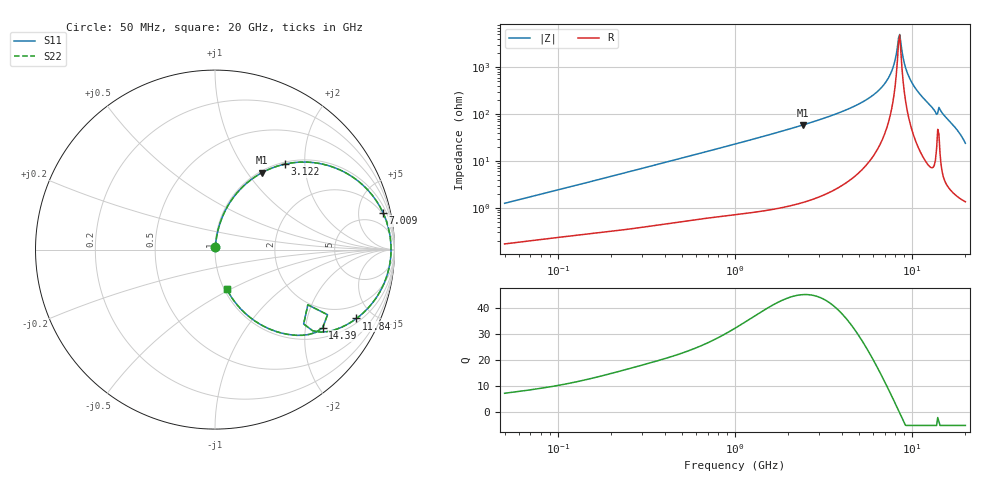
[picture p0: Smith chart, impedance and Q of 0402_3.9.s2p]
!Murata Part Number: LQG15HS3N6B02
!These Parameters are Measured in Series Mode Connection
!  o--[Z]--o
!Port1  Port2
!  o-------o
!Freq. Start=50[MHz] Stop=20[GHz], 401[Steps]
# Hz S RI R 50
!Freq.(Hz) S11(Real) S11(Imag) S21(Real) S21(Imag) S12(Real) S12(Imag) S22(Real) S22(Imag)
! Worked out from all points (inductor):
!   401 points, 50 MHz to 20 GHz, reference 50 ohm
!   read as one part in series: L = 3.91 nH near 51.52 MHz
!   highest Q = 44.9 at 2.42 GHz (marker M1), where L = 3.86 nH
!   self-resonance near 8.389 GHz
!   S11 on the Smith chart (normalised r, x): 50 MHz: 1.00, +0.02; 3.122 GHz: 1.04, +1.60; 7.009 GHz: 1.77, +8.92; 11.84 GHz: 1.20, -4.00; 14.39 GHz: 1.29, -2.49; 20 GHz: 1.03, -0.48
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5e7  0.00186 0.0124  0.9981 -0.0124  0.9981 -0.0124  0.00186 0.0124
1.364002e8  0.00372 0.0323  0.9963 -0.0323  0.9963 -0.0323  0.00372 0.0323
3.721004e8  0.0116 0.0849  0.9884 -0.0849  0.9884 -0.0849  0.0116 0.0849
1e9  0.0562 0.2152  0.9438 -0.2152  0.9438 -0.2152  0.0562 0.2152
2.419936e9  0.261 0.4282  0.739 -0.4282  0.739 -0.4282  0.261 0.4282
2.728004e9  0.3172 0.4543  0.6828 -0.4543  0.6828 -0.4543  0.3172 0.4543
3.121702e9  0.3914 0.4767  0.6086 -0.4767  0.6086 -0.4767  0.3914 0.4767
5.194772e9  0.7505 0.415  0.2495 -0.415  0.2495 -0.415  0.7505 0.415
7.009217e9  0.9365 0.2046  0.0635 -0.2046  0.0635 -0.2046  0.9365 0.2046
7.442007e9  0.9592 0.1453  0.0408 -0.1453  0.0408 -0.1453  0.9592 0.1453
7.901521e9  0.9744 0.0812  0.0256 -0.0812  0.0256 -0.0812  0.9744 0.0812
8.264682e9  0.98 0.0304  0.02 -0.0304  0.02 -0.0304  0.98 0.0304
8.516016e9  0.9808 -0.00456  0.0192 0.00456  0.0192 0.00456  0.9808 -0.00456
8.644534e9  0.9803 -0.0223  0.0197 0.0223  0.0197 0.0223  0.9803 -0.0223
9.178299e9  0.9712 -0.0945  0.0288 0.0945  0.0288 0.0945  0.9712 -0.0945
9.600142e9  0.9567 -0.1492  0.0433 0.1492  0.0433 0.1492  0.9567 -0.1492
1.050288e10  0.9059 -0.2567  0.0941 0.2567  0.0941 0.2567  0.9059 -0.2567
1.183995e10  0.7882 -0.3837  0.2118 0.3837  0.2118 0.3837  0.7882 -0.3837
1.354865e10  0.545 -0.4527  0.455 0.4527  0.455 0.4527  0.545 -0.4527
1.438523e10  0.5998 -0.436  0.4002 0.436  0.4002 0.436  0.5998 -0.436
1.621653e10  0.3445 -0.4575  0.6555 0.4575  0.6555 0.4575  0.3445 -0.4575
2e10  0.0651 -0.2199  0.9349 0.2199  0.9349 0.2199  0.0651 -0.2199
